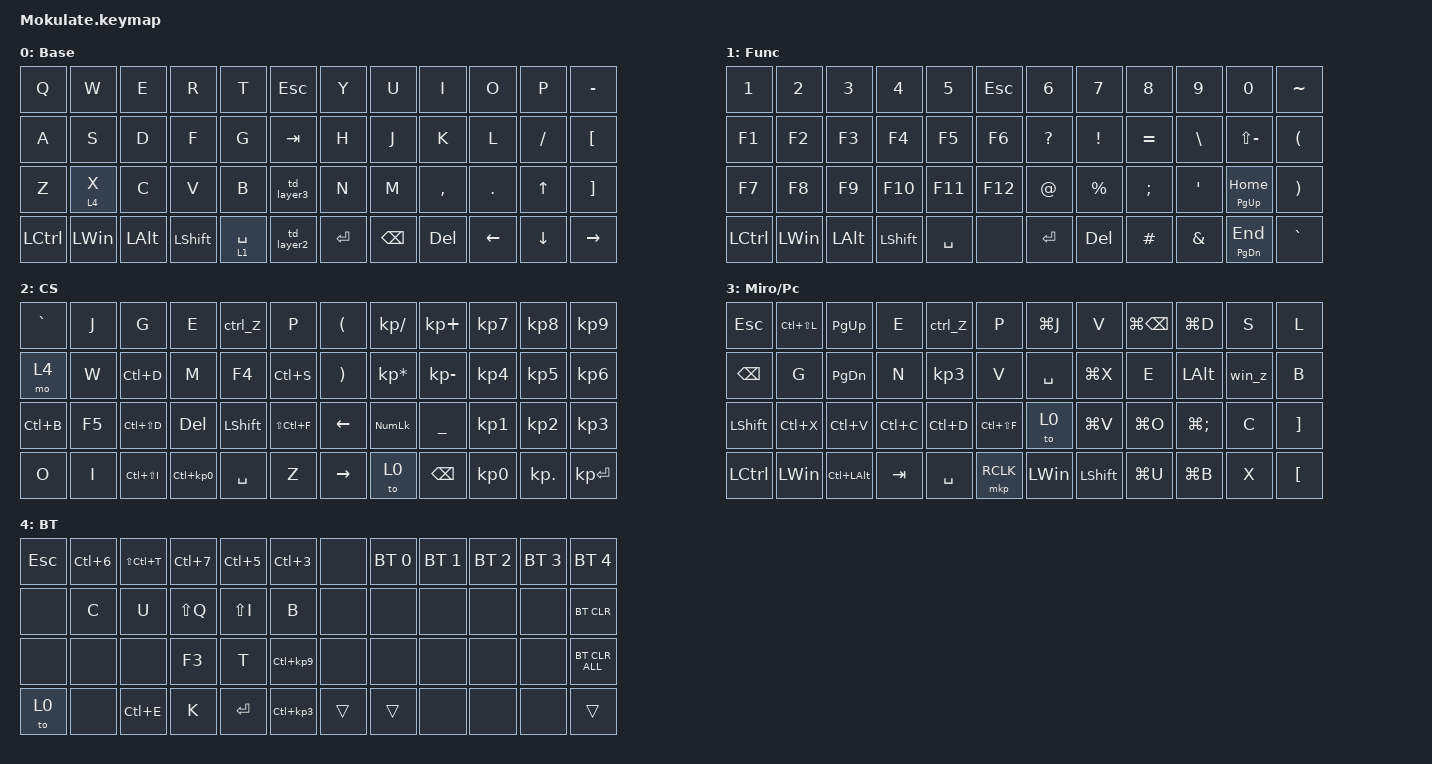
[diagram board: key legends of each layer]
#include <behaviors.dtsi>
#include <dt-bindings/zmk/bt.h>
#include <dt-bindings/zmk/keys.h>
#include <dt-bindings/zmk/pointing.h>

/ {
    behaviors {
        td_layer2: td_layer2 {
            compatible = "zmk,behavior-tap-dance";
            label = "TD_LAYER2";
            #binding-cells = <0>;
            tapping-term-ms = <200>;
            bindings = <&lt 2 LANG1>, <&to 2>;
        };

        ht_layer3: ht_layer3 {
            compatible = "zmk,behavior-hold-tap";
            label = "HT_LAYER3";
            bindings = <&mo>, <&td_layer3>;

            #binding-cells = <2>;
            flavor = "balanced";
            tapping-term-ms = <180>;
        };

        td_layer3: td_layer3 {
            compatible = "zmk,behavior-tap-dance";
            label = "TD_LAYER3";
            #binding-cells = <0>;
            tapping-term-ms = <200>;
            bindings = <&kp LANG2>, <&to 3>;
        };

        td_layer4: td_layer4 {
            compatible = "zmk,behavior-tap-dance";
            label = "TD_LAYER4";
            #binding-cells = <0>;
            tapping-term-ms = <180>;
            bindings = <&none>, <&to 4>;
        };

        ht_layer2: ht_layer2 {
            compatible = "zmk,behavior-hold-tap";
            label = "HT_LAYER2";
            bindings = <&mo>, <&td_layer2>;

            #binding-cells = <2>;
            flavor = "balanced";
            tapping-term-ms = <180>;
        };

        ht_layer4: ht_layer4 {
            compatible = "zmk,behavior-hold-tap";
            label = "HT_LAYER4";
            bindings = <&mo>, <&td_layer4>;

            #binding-cells = <2>;
            flavor = "balanced";
            tapping-term-ms = <180>;
        };
    };

    combos {
        compatible = "zmk,combos";

        ctrl {
            bindings = <&kp LCTRL>;
            key-positions = <4 3>;
            layers = <2>;
        };

        Alt {
            bindings = <&kp LEFT_ALT>;
            key-positions = <15 16>;
            layers = <2>;
        };

        senhaba_y {
            bindings = <&kp Y>;
            key-positions = <5 4>;
            layers = <2>;
        };

        alt_num2 {
            bindings = <&kp LA(KP_NUMBER_2)>;
            key-positions = <3 2>;
            layers = <2>;
        };

        alt_num0 {
            bindings = <&kp LA(KP_NUMBER_0)>;
            key-positions = <2 1>;
            layers = <2>;
        };

        ctrl_alt {
            bindings = <&ctrl_alt>;
            key-positions = <1 13>;
            layers = <2>;
        };
    };

    macros {
        ctrl_Z: ctrl_Z {
            compatible = "zmk,behavior-macro";
            #binding-cells = <0>;
            bindings = <&kp LC(Z)>;
            label = "CTRL_Z";
        };

        win_z: win_z {
            compatible = "zmk,behavior-macro";
            #binding-cells = <0>;
            bindings = <&kp LG(Z)>;
            label = "WIN_Z";
        };

        ctrl_alt: ctrl_alt {
            compatible = "zmk,behavior-macro";
            #binding-cells = <0>;
            bindings = <&kp LCTRL &kp LEFT_ALT>;
            label = "CTRL_ALT";
        };
    };

    keymap {
        compatible = "zmk,keymap";

        default_layer {
            display-name = "Base";
            bindings = <
&kp Q      &kp W         &kp E         &kp R       &kp T        &kp ESC       &kp Y      &kp U          &kp I      &kp O           &kp P           &kp MINUS
&kp A      &kp S         &kp D         &kp F       &kp G        &kp TAB       &kp H      &kp J          &kp K      &kp L           &kp SLASH       &kp LBKT
&kp Z      &lt 4 X       &kp C         &kp V       &kp B        &td_layer3    &kp N      &kp M          &kp COMMA  &kp PERIOD      &kp UP_ARROW    &kp RBKT
&kp LCTRL  &kp LEFT_WIN  &kp LEFT_ALT  &kp LSHIFT  &lt 1 SPACE  &td_layer2    &kp ENTER  &kp BACKSPACE  &kp DEL    &kp LEFT_ARROW  &kp DOWN_ARROW  &kp RIGHT_ARROW
            >;
        };

        SYMBOL {
            display-name = "Func";
            bindings = <
&kp NUMBER_1  &kp NUMBER_2  &kp NUMBER_3  &kp NUMBER_4  &kp NUMBER_5  &kp ESC    &kp NUMBER_6  &kp NUMBER_7  &kp NUMBER_8   &kp NUMBER_9    &kp NUMBER_0       &kp TILDE
&kp F1        &kp F2        &kp F3        &kp F4        &kp F5        &kp F6     &kp QMARK     &kp EXCL      &kp EQUAL      &kp BSLH        &kp LS(MINUS)      &kp LPAR
&kp F7        &kp F8        &kp F9        &kp F10       &kp F11       &kp F12    &kp AT_SIGN   &kp PERCENT   &kp SEMICOLON  &kp APOSTROPHE  &mt PG_UP HOME     &kp RPAR
&kp LCTRL     &kp LEFT_WIN  &kp LEFT_ALT  &kp LSHIFT    &kp SPACE     &none      &kp ENTER     &kp DEL       &kp HASH       &kp AMPS        &mt PAGE_DOWN END  &kp GRAVE
            >;
        };

        CURSOR {
            display-name = "CS";
            bindings = <
&kp GRAVE  &kp J   &kp G          &kp E                &ctrl_Z         &kp P            &kp LPAR         &kp KP_SLASH     &kp KP_PLUS    &kp KP_NUMBER_7  &kp KP_NUMBER_8  &kp KP_NUMBER_9
&mo 4      &kp W   &kp LC(D)      &kp M                &kp F4          &kp LC(S)        &kp RPAR         &kp KP_MULTIPLY  &kp KP_MINUS   &kp KP_NUMBER_4  &kp KP_NUMBER_5  &kp KP_NUMBER_6
&kp LC(B)  &kp F5  &kp LC(LS(D))  &kp DEL              &kp LEFT_SHIFT  &kp LS(LC(F))    &kp LEFT_ARROW   &kp KP_NUMLOCK   &kp UNDER      &kp KP_NUMBER_1  &kp KP_NUMBER_2  &kp KP_NUMBER_3
&kp O      &kp I   &kp LC(LS(I))  &kp LC(KP_NUMBER_0)  &kp SPACE       &kp Z            &kp RIGHT_ARROW  &to 0            &kp BACKSPACE  &kp KP_NUMBER_0  &kp KP_DOT       &kp KP_ENTER
            >;
        };

        NUMBER {
            display-name = "Miro/Pc";
            bindings = <
&kp ESC         &kp LC(LS(L))  &kp PAGE_UP       &kp E      &ctrl_Z          &kp P            &kp LG(J)     &kp V           &kp LG(BACKSPACE)  &kp LG(D)          &kp S   &kp L
&kp BACKSPACE   &kp G          &kp PAGE_DOWN     &kp N      &kp KP_NUMBER_3  &kp V            &kp SPACE     &kp LG(X)       &kp E              &kp LEFT_ALT       &win_z  &kp B
&kp LEFT_SHIFT  &kp LC(X)      &kp LC(V)         &kp LC(C)  &kp LC(D)        &kp LC(LS(F))    &to 0         &kp LG(V)       &kp LG(O)          &kp LG(SEMICOLON)  &kp C   &kp RBKT
&kp LCTRL       &kp LEFT_WIN   &kp LC(LEFT_ALT)  &kp TAB    &kp SPACE        &mkp RCLK        &kp LEFT_WIN  &kp LEFT_SHIFT  &kp LG(U)          &kp LG(B)          &kp X   &kp LBKT
            >;
        };

        BLUETOOTH {
            display-name = "BT";
            bindings = <
&kp ESC  &kp LC(NUMBER_6)  &kp LS(LC(T))  &kp LC(NUMBER_7)  &kp LC(NUMBER_5)  &kp LC(NUMBER_3)       &none   &bt BT_SEL 0  &bt BT_SEL 1  &bt BT_SEL 2  &bt BT_SEL 3  &bt BT_SEL 4
&none    &kp C             &kp U          &kp LS(Q)         &kp LS(I)         &kp B                  &none   &none         &none         &none         &none         &bt BT_CLR
&none    &none             &none          &kp F3            &kp T             &kp LC(KP_NUMBER_9)    &none   &none         &none         &none         &none         &bt BT_CLR_ALL
&to 0    &none             &kp LC(E)      &kp K             &kp ENTER         &kp LC(KP_NUMBER_3)    &trans  &trans        &none         &none         &none         &trans
            >;
        };
    };
};
